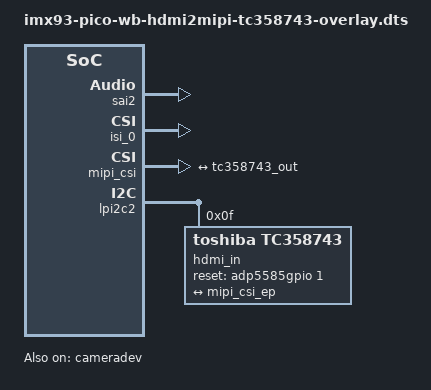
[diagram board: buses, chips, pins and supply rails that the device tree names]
// SPDX-License-Identifier: (GPL-2.0+ OR MIT)
/*
 * Copyright 2020 TechNexion Ltd.
 *
 * Author: Richard Hu <richard.hu@technexion.com>
 *         Ray Chang <ray.chang@technexion.com>
 *
 */

/dts-v1/;
/plugin/;

#include <dt-bindings/interrupt-controller/irq.h>
#include <dt-bindings/clock/imx93-clock.h>
#include <dt-bindings/gpio/gpio.h>

/ {
	fragment@0 {
		target-path = "/";
		__overlay__ {
			sound-tc358743 {
				compatible = "nxp,imx-audio-tc358743", "nxp,imx-tc358743";
				cpu-dai = <&sai2>;
				nxp,audio-codec = <&hdmi_in>;
				clocks = <&clk IMX93_CLK_SAI2>;
				status = "okay";
			};

			sound {
				status = "disabled";
			};
		};
	};

	fragment@1 {
		target = <&sai2>;
		__overlay__ {
			fsl,sai-mclk-direction-output;
			status = "okay";
		};
	};

	fragment@2 {
		target = <&cameradev>;
		__overlay__ {
			status = "okay";
		};
	};

	fragment@3 {
		target = <&isi_0>;
		__overlay__ {
			status = "okay";

			cap_device {
				status = "okay";
			};
		};
	};

	fragment@4 {
		target = <&mipi_csi>;
		__overlay__ {
			status = "okay";
			#address-cells = <1>;
			#size-cells = <0>;

			port@0 {
				reg = <0>;
				mipi_csi_ep: endpoint {
					remote-endpoint = <&tc358743_out>;
					data-lanes = <2>;
					cfg-clk-range = <28>;
					hs-clk-range = <0x18>;
					bus-type = <4>;
				};
			};
		};
	};

	fragment@5 {
		target = <&lpi2c2>;
		__overlay__ {
			#address-cells = <1>;
			#size-cells = <0>;
			status = "okay";

			hdmi_in: tc358743@f {
				compatible = "toshiba,tc358743";
				reg = <0x0f>;
				reset-gpios = <&adp5585gpio 1 GPIO_ACTIVE_HIGH>;
				status = "okay";

				port {
					tc358743_out: endpoint {
						remote-endpoint = <&mipi_csi_ep>;
						data-lanes = <1 2 3 4>;
						clock-lanes = <0>;
						clock-noncontinuous;
						link-frequencies = /bits/ 64 <297000000>;
					};
				};
			};

			tlv320aic3104: audio-codec@18 {
				status = "disabled";
			};
		};
	};
};
